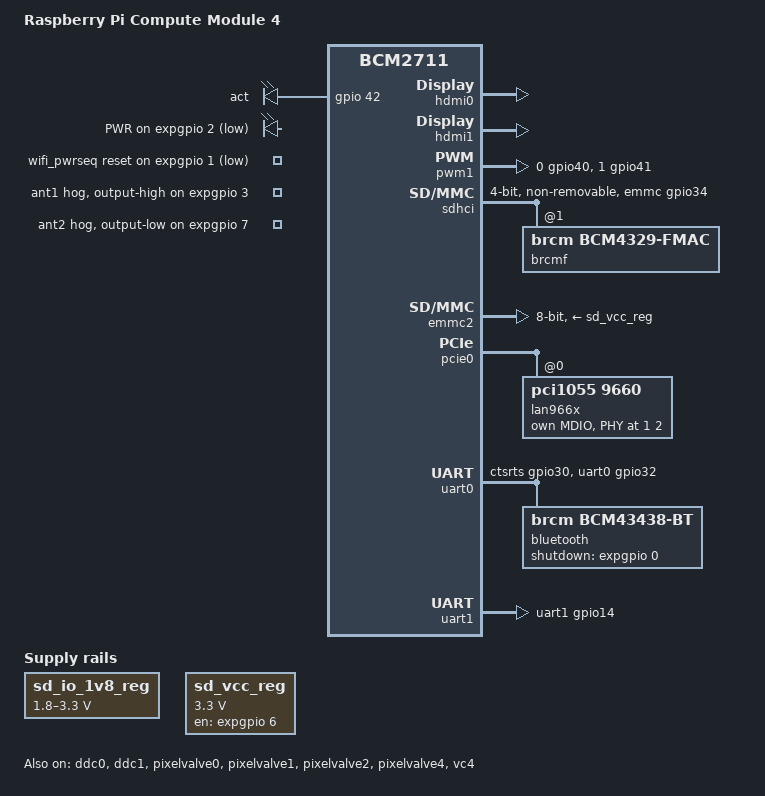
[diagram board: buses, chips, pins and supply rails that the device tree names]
// SPDX-License-Identifier: GPL-2.0
/dts-v1/;
#include "bcm2711.dtsi"
#include "bcm2835-rpi.dtsi"

#include <dt-bindings/reset/raspberrypi,firmware-reset.h>

#include <dt-bindings/phy/phy-lan966x-serdes.h>
#include <dt-bindings/mfd/atmel-flexcom.h>
#include <dt-bindings/clock/microchip,lan966x.h>

/ {
	compatible = "raspberrypi,4-compute-module", "brcm,bcm2711";
	model = "Raspberry Pi Compute Module 4";

	chosen {
		/* 8250 auxiliary UART instead of pl011 */
		stdout-path = "serial1:115200n8";
	};

	/* Will be filled by the bootloader */
	memory@0 {
		device_type = "memory";
		reg = <0 0 0>;
	};

	aliases {
		emmc2bus = &emmc2bus;
		pcie0 = &pcie0;
		blconfig = &blconfig;
		i2c102 = &i2c102;
		i2c103 = &i2c103;
	};

	leds {
		act {
			gpios = <&gpio 42 GPIO_ACTIVE_HIGH>;
		};

		pwr {
			label = "PWR";
			gpios = <&expgpio 2 GPIO_ACTIVE_LOW>;
			default-state = "keep";
			linux,default-trigger = "default-on";
		};
	};

	wifi_pwrseq: wifi-pwrseq {
		compatible = "mmc-pwrseq-simple";
		reset-gpios = <&expgpio 1 GPIO_ACTIVE_LOW>;
	};

	sd_io_1v8_reg: sd_io_1v8_reg {
		compatible = "regulator-gpio";
		regulator-name = "vdd-sd-io";
		regulator-min-microvolt = <1800000>;
		regulator-max-microvolt = <3300000>;
		regulator-boot-on;
		regulator-always-on;
		regulator-settling-time-us = <5000>;
		gpios = <&expgpio 4 GPIO_ACTIVE_HIGH>;
		states = <1800000 0x1
			  3300000 0x0>;
		status = "okay";
	};

	sd_vcc_reg: sd_vcc_reg {
		compatible = "regulator-fixed";
		regulator-name = "vcc-sd";
		regulator-min-microvolt = <3300000>;
		regulator-max-microvolt = <3300000>;
		regulator-boot-on;
		enable-active-high;
		gpio = <&expgpio 6 GPIO_ACTIVE_HIGH>;
	};
};

&ddc0 {
	status = "okay";
};

&ddc1 {
	status = "okay";
};

&firmware {
	firmware_clocks: clocks {
		compatible = "raspberrypi,firmware-clocks";
		#clock-cells = <1>;
	};

	expgpio: gpio {
		compatible = "raspberrypi,firmware-gpio";
		gpio-controller;
		#gpio-cells = <2>;
		gpio-line-names = "BT_ON",
				  "WL_ON",
				  "PWR_LED_OFF",
				  "ANT1",
				  "VDD_SD_IO_SEL",
				  "CAM_GPIO",
				  "SD_PWR_ON",
				  "ANT2";
		status = "okay";

		ant1: ant1 {
			gpio-hog;
			gpios = <3 GPIO_ACTIVE_HIGH>;
			output-high;
		};

		ant2: ant2 {
			gpio-hog;
			gpios = <7 GPIO_ACTIVE_HIGH>;
			output-low;
		};
	};

	reset: reset {
		compatible = "raspberrypi,firmware-reset";
		#reset-cells = <1>;
	};
};

&gpio {
	/*
	 * Parts taken from rpi_SCH_4b_4p0_reduced.pdf and
	 * the official GPU firmware DT blob.
	 *
	 * Legend:
	 * "FOO" = GPIO line named "FOO" on the schematic
	 * "FOO_N" = GPIO line named "FOO" on schematic, active low
	 */
	gpio-line-names = "ID_SDA",
			  "ID_SCL",
			  "SDA1",
			  "SCL1",
			  "GPIO_GCLK",
			  "GPIO5",
			  "GPIO6",
			  "SPI_CE1_N",
			  "SPI_CE0_N",
			  "SPI_MISO",
			  "SPI_MOSI",
			  "SPI_SCLK",
			  "GPIO12",
			  "GPIO13",
			  /* Serial port */
			  "TXD1",
			  "RXD1",
			  "GPIO16",
			  "GPIO17",
			  "GPIO18",
			  "GPIO19",
			  "GPIO20",
			  "GPIO21",
			  "GPIO22",
			  "GPIO23",
			  "GPIO24",
			  "GPIO25",
			  "GPIO26",
			  "GPIO27",
			  "RGMII_MDIO",
			  "RGMIO_MDC",
			  /* Used by BT module */
			  "CTS0",
			  "RTS0",
			  "TXD0",
			  "RXD0",
			  /* Used by Wifi */
			  "SD1_CLK",
			  "SD1_CMD",
			  "SD1_DATA0",
			  "SD1_DATA1",
			  "SD1_DATA2",
			  "SD1_DATA3",
			  /* Shared with SPI flash */
			  "PWM0_MISO",
			  "PWM1_MOSI",
			  "STATUS_LED_G_CLK",
			  "SPIFLASH_CE_N",
			  "SDA0",
			  "SCL0",
			  "RGMII_RXCLK",
			  "RGMII_RXCTL",
			  "RGMII_RXD0",
			  "RGMII_RXD1",
			  "RGMII_RXD2",
			  "RGMII_RXD3",
			  "RGMII_TXCLK",
			  "RGMII_TXCTL",
			  "RGMII_TXD0",
			  "RGMII_TXD1",
			  "RGMII_TXD2",
			  "RGMII_TXD3";
};

&hdmi0 {
	clocks = <&firmware_clocks 13>, <&firmware_clocks 14>, <&dvp 0>, <&clk_27MHz>;
	clock-names = "hdmi", "bvb", "audio", "cec";
	status = "okay";
};

&hdmi1 {
	clocks = <&firmware_clocks 13>, <&firmware_clocks 14>, <&dvp 1>, <&clk_27MHz>;
	clock-names = "hdmi", "bvb", "audio", "cec";
	status = "okay";
};

&hvs {
	clocks = <&firmware_clocks 4>;
};

&pixelvalve0 {
	status = "okay";
};

&pixelvalve1 {
	status = "okay";
};

&pixelvalve2 {
	status = "okay";
};

&pixelvalve4 {
	status = "okay";
};

&pwm1 {
	pinctrl-names = "default";
	pinctrl-0 = <&pwm1_0_gpio40 &pwm1_1_gpio41>;
	status = "okay";
};

&rmem {
	/*
	 * RPi4's co-processor will copy the board's bootloader configuration
	 * into memory for the OS to consume. It'll also update this node with
	 * its placement information.
	 */
	blconfig: nvram@0 {
		compatible = "raspberrypi,bootloader-config", "nvmem-rmem";
		#address-cells = <1>;
		#size-cells = <1>;
		reg = <0x0 0x0 0x0>;
		no-map;
		status = "disabled";
	};
};

/* SDHCI is used to control the SDIO for wireless */
&sdhci {
	#address-cells = <1>;
	#size-cells = <0>;
	pinctrl-names = "default";
	pinctrl-0 = <&emmc_gpio34>;
	bus-width = <4>;
	non-removable;
	mmc-pwrseq = <&wifi_pwrseq>;
	status = "okay";

	brcmf: wifi@1 {
		reg = <1>;
		compatible = "brcm,bcm4329-fmac";
	};
};

/* EMMC2 is used to drive the EMMC card */
&emmc2 {
	bus-width = <8>;
	vqmmc-supply = <&sd_io_1v8_reg>;
	vmmc-supply = <&sd_vcc_reg>;
	broken-cd;
	status = "okay";
};

&pcie0 {
	pci@0,0 {
		#address-cells = <3>;
		#size-cells = <2>;
		device_type = "pci";

		reg = <0 0 0 0 0>;
		ranges = <0x00000000 0x6 0x00000000  0x02000000 0x0 0xc0000000  0x0 0x40000000>;

		lan966x: switch@0,0 {
			compatible = "pci1055,9660";

			reg = <0x0000 0 0 0 0>;
			#address-cells = <1>;
			#size-cells = <1>;

			ranges = <0x00000000 0x0000000 0x6 0x00000000 0x40000000>;

			#interrupt-cells = <1>;
			interrupt-controller;
			interrupt-parent = <&lan966x>;

			clocks {
				cpu_clk: cpu_clk {
					compatible = "fixed-clock";
					#clock-cells = <0>;
					clock-frequency = <600000000>;  // CPU clock = 600MHz
				};

				fabric_clk: fabric_clk {
					compatible = "fixed-clock";
					#clock-cells = <0>;
					clock-frequency = <30000000>;  // Fabric clock = 30MHz
				};

				sys_clk: sys_clk {
					compatible = "fixed-clock";
					#clock-cells = <0>;
					clock-frequency = <15625000>;  // System clock = 15.625MHz
				};

				nic_clk: nic_clk {
					compatible = "fixed-clock";
					#clock-cells = <0>;
					clock-frequency = <200000000>;  // NIC clock = 200MHz
				};
			};

			cpu_ctrl: syscon@e00c0000 {
				compatible = "microchip,lan966x-cpu-syscon", "syscon";
				reg = <0x20c0000 0x350>;
			};

			switch_reset: reset-controller@e200400c {
				compatible = "microchip,lan966x-switch-reset";
				reg = <0x400c 0x4>;
				reg-names = "gcb";
				#reset-cells = <1>;
				cpu-syscon = <&cpu_ctrl>;
			};

			flx4: flexcom@e0070000 {
				compatible = "atmel,sama5d2-flexcom";
				reg = <0x02070000 0x00000100>;
				clocks = <&fabric_clk>;
				#address-cells = <1>;
				#size-cells = <1>;
				ranges = <0x0 0x02070000 0x800>;

				atmel,flexcom-mode = <ATMEL_FLEXCOM_MODE_TWI>;
				status = "okay";

				i2c_lan966x: i2c@600 {
					compatible = "microchip,sam9x60-i2c";
					reg = <0x600 0x200>;
					interrupts = <52>;
					#address-cells = <1>;
					#size-cells = <0>;
					clocks = <&nic_clk>;
					pinctrl-0 = <&fc4_b_rx_pins>, <&fc4_b_tx_pins>;
					pinctrl-names = "default";
					i2c-analog-filter;
					i2c-digital-filter;
					i2c-digital-filter-width-ns = <35>;
					i2c-sda-hold-time-ns = <1500>;
					status = "okay";
				};
			};

			sgpio0: gpio@61101036c {
				#address-cells = <1>;
				#size-cells = <0>;
				compatible = "microchip,sparx5-sgpio";
				status = "okay";
				clocks = <&fabric_clk>;
				pinctrl-0 = <&sgpio_a_pins>;
				pinctrl-names = "default";
				bus-frequency = <6000000>;
				resets = <&switch_reset 0>;
				reset-names = "switch";
				reg = <0x00004190 0x00000118>;
				microchip,sgpio-port-ranges = <0 3>, <8 11>;
				sgpio_in0: gpio@0 {
					compatible = "microchip,sparx5-sgpio-bank";
					reg = <0>;
					gpio-controller;
					#gpio-cells = <3>;
					ngpios = <64>;
					interrupts = <18>;
					interrupt-controller;
					#interrupt-cells = <3>;
				};
				sgpio_out0: gpio@1 {
					compatible = "microchip,sparx5-sgpio-bank";
					reg = <1>;
					gpio-controller;
					#gpio-cells = <3>;
					ngpios = <64>;
				};
			};

			lan966x_gpio: pinctrl@e2004070 {
				compatible = "microchip,lan966x-pinctrl";
				reg = <0x00004064 0x000000b4>,
				      <0x00010024 0x00000138>;
				gpio-controller;
				#gpio-cells = <2>;
				gpio-ranges = <&lan966x_gpio 0 0 78>;
				resets = <&switch_reset 0>;
				reset-names = "switch";
				status = "okay";

				tod_pins: tod_pins {
					pins = "GPIO_36";
					function = "ptpsync_1";
				};

				sgpio_a_pins: sgpio-pins {
					/* SCK, D0, D1, LD */
					pins = "GPIO_32", "GPIO_33", "GPIO_34", "GPIO_35";
					function = "sgpio_a";
				};

				fc4_b_rx_pins: fc4-b-rx-pins {
					pins = "GPIO_57";
					function = "fc4_b";
				};

				fc4_b_tx_pins: fc4-b-tx-pins {
					pins = "GPIO_58";
					function = "fc4_b";
				};
			};

			i2c0_emux: i2c0-emux@0 {
				compatible = "i2c-mux-gpio";
				#address-cells = <1>;
				#size-cells = <0>;
				i2c-parent = <&i2c_lan966x>;
				mux-gpios = <&sgpio_out0 11 0 GPIO_ACTIVE_HIGH>, // p11b0
					    <&sgpio_out0 11 1 GPIO_ACTIVE_HIGH>; // p11b1
				select-delay = <10000>; /* The signal needs to get stabilized */
				i2c102: i2c_sfp1 {
					reg = <1>;
					#address-cells = <1>;
					#size-cells = <0>;
				};
				i2c103: i2c_sfp2 {
					reg = <2>;
					#address-cells = <1>;
					#size-cells = <0>;
				};
			};

			sfp_eth2: sfp-eth2 {
				compatible       = "sff,sfp";
				i2c-bus          = <&i2c102>;
				tx-disable-gpios = <&sgpio_out0 10 0 GPIO_ACTIVE_LOW>;
				los-gpios        = <&sgpio_in0  2 0 GPIO_ACTIVE_HIGH>;
				mod-def0-gpios   = <&sgpio_in0  2 1 GPIO_ACTIVE_LOW>;
				tx-fault-gpios   = <&sgpio_in0  1 0 GPIO_ACTIVE_HIGH>;
			};

			sfp_eth3: sfp-eth3 {
				compatible       = "sff,sfp";
				i2c-bus          = <&i2c103>;
				tx-disable-gpios = <&sgpio_out0 10 1 GPIO_ACTIVE_LOW>;
				los-gpios        = <&sgpio_in0  3 0 GPIO_ACTIVE_HIGH>;
				mod-def0-gpios   = <&sgpio_in0  3 1 GPIO_ACTIVE_LOW>;
				tx-fault-gpios   = <&sgpio_in0  1 1 GPIO_ACTIVE_HIGH>;
			};

			serdes: serdes@e202c000 {
				compatible = "microchip,lan966x-serdes";
				reg = <0x0002c000 0x0000009c>,
				      <0x00004010 0x00000004>;
				#phy-cells = <2>;
			};

			lan966x_mdio1: mdio@413c {
				#address-cells = <1>;
				#size-cells = <0>;
				compatible = "microchip,lan966x-miim";
				reg = <0x0000413c 0x00000024>,
				      <0x10020 0x4>;
				status = "okay";

				resets = <&switch_reset 0>;
				reset-names = "switch";

				lan966x_phy0: ethernet-lan966x_phy@0 {
					reg = <1>;
				};

				lan966x_phy1: ethernet-lan966x_phy@1 {
					reg = <2>;
				};
			};

			lan966x_switch: switch@0 {
				compatible = "microchip,lan966x-switch";
				reg = <0x02000000 0x02000000>, /* BAR0: CSR */
				      <0x00000000 0x01000000>; /* BAR1: CPU */
				reg-names = "gcb", "cpu";
				interrupts = <10 11 12 9>;
				interrupt-names = "ptp-ext", "ptp", "xtr", "ana";

				resets = <&switch_reset 0>;
				reset-names = "switch";

				pinctrl-0 = <&tod_pins>;
				pinctrl-names = "default";

				status = "okay";

				ethernet-ports {
					#address-cells = <1>;
					#size-cells = <0>;

					port0: port@0 {
						status = "okay";
						phy-handle = <&lan966x_phy0>;

						reg = <0>;
						phy-mode = "gmii";
						phys = <&serdes 0 CU(0)>;

						#address-cells = <1>;
						#size-cells = <0>;

						delay0 {
							reg = <0>;
							speed = <1000>;
							rx_delay = <0x25000>;
							tx_delay = <0x25000>;
						};

						delay1 {
							reg = <0>;
							speed = <100>;
							rx_delay = <0x8f050>;
							tx_delay = <0x8f050>;
						};

						delay2 {
							reg = <0>;
							speed = <10>;
							rx_delay = <0x4b8000>;
							tx_delay = <0x4b8000>;
						};
					};

					port1: port@1 {
						status = "okay";
						phy-handle = <&lan966x_phy1>;

						reg = <1>;
						phy-mode = "gmii";
						phys = <&serdes 1 CU(1)>;

						#address-cells = <1>;
						#size-cells = <0>;

						delay0 {
							reg = <0>;
							speed = <1000>;
							rx_delay = <0x25000>;
							tx_delay = <0x25000>;
						};

						delay1 {
							reg = <0>;
							speed = <100>;
							rx_delay = <0x8f050>;
							tx_delay = <0x8f050>;
						};

						delay2 {
							reg = <0>;
							speed = <10>;
							rx_delay = <0x4b8000>;
							tx_delay = <0x4b8000>;
						};
					};

					port2: port@2 {
						status = "okay";

						reg = <2>;
						phy-mode = "sgmii";
						phys = <&serdes 2 SERDES6G(0)>;
						sfp = <&sfp_eth2>;
						managed = "in-band-status";

						#address-cells = <1>;
						#size-cells = <0>;

						delay0 {
							reg = <0>;
							speed = <1000>;
							rx_delay = <0x25000>;
							tx_delay = <0x25000>;
						};

						delay1 {
							reg = <0>;
							speed = <100>;
							rx_delay = <0x8f050>;
							tx_delay = <0x8f050>;
						};

						delay2 {
							reg = <0>;
							speed = <10>;
							rx_delay = <0x4b8000>;
							tx_delay = <0x4b8000>;
						};
					};

					port3: port@3 {
						status = "okay";

						reg = <3>;
						phy-mode = "sgmii";
						phys = <&serdes 3 SERDES6G(1)>;
						sfp = <&sfp_eth3>;
						managed = "in-band-status";

						#address-cells = <1>;
						#size-cells = <0>;

						delay0 {
							reg = <0>;
							speed = <1000>;
							rx_delay = <0x25000>;
							tx_delay = <0x25000>;
						};

						delay1 {
							reg = <0>;
							speed = <100>;
							rx_delay = <0x8f050>;
							tx_delay = <0x8f050>;
						};

						delay2 {
							reg = <0>;
							speed = <10>;
							rx_delay = <0x4b8000>;
							tx_delay = <0x4b8000>;
						};
					};
				};
			};
		};
	};
};

/* uart0 communicates with the BT module */
&uart0 {
	pinctrl-names = "default";
	pinctrl-0 = <&uart0_ctsrts_gpio30 &uart0_gpio32>;
	uart-has-rtscts;
	status = "okay";

	bluetooth {
		compatible = "brcm,bcm43438-bt";
		max-speed = <2000000>;
		shutdown-gpios = <&expgpio 0 GPIO_ACTIVE_HIGH>;
	};
};

/* uart1 is mapped to the pin header */
&uart1 {
	pinctrl-names = "default";
	pinctrl-0 = <&uart1_gpio14>;
	status = "okay";
};

&vchiq {
	interrupts = <GIC_SPI 34 IRQ_TYPE_LEVEL_HIGH>;
};

&vc4 {
	status = "okay";
};

&vec {
	status = "disabled";
};
